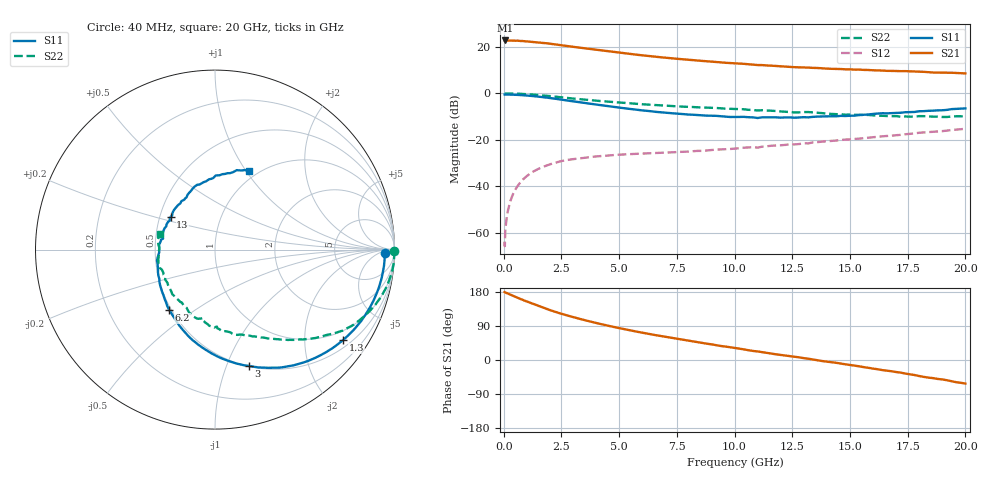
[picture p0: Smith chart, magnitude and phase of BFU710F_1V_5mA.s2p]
! Filename:  P:\Prog\Test\Noise\ATS_data\Testdata_Net\BFU710\BFU710_2W_A1_1V5mA_D.s2p
! Date/Time: Fri 29/Apr/2011 13:26:11
! BFU710_2W_A1_1V5mA
! bias mode 1: Vout= 1.0001 V, Iout= 5.0400 mA, Vin= 0.8283 V, Iin= 0.0172 mA
! Date/time Wed Mar 16 13:17:32 2011
! Device data file deembeded for feedlines and parallel
! Original file: \BFU710\BFU710_2W_A1_1V5mA_R.s2p
! Feed-files: PR003V01_101208_Feed1.s2p, PR003V01_101208_Feed2.s2p
! Parallel-file: PR003V01_101208_Par.s2p
# MHz S MA R 50
!  Freq-MHz  S11-mag  S11-arg  S21-mag  S21-arg  S12-mag  S12-arg  S22-mag  S22-arg
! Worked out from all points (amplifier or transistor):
!   167 points, 40 MHz to 20 GHz, reference 50 ohm
!   highest |S21| = 22.8 dB at 50 MHz (marker M1)
!   |S21| within 3 dB of that: start of sweep to 3.202 GHz
!   unconditionally stable (mu >= 1): 6.67 GHz to 17.88 GHz
!   at 550 MHz: K = 0.04, MSG = 31.7 dB, |S12| = -40.7 dB
!   at 4.2 GHz: K = 0.63, MSG = 22.8 dB, |S12| = -27.0 dB
!   at 20 GHz: K = 0.89, MSG = 12.0 dB, |S12| = -15.3 dB
!   S11 on the Smith chart (normalised r, x): 40 MHz: 33, -12; 1.3 GHz: 0.71, -3.01; 3 GHz: 0.51, -1.20; 6.2 GHz: 0.49, -0.40; 13 GHz: 0.57, +0.23; 20 GHz: 0.91, +1.03
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40  0.9473 -1.1  13.83 179.2  0.0006414 89.9  0.9978 -0.3
50  0.9501 -1.8  13.88 178.5  0.0005095 62.1  0.9978 -0.6
70  0.9474 -1.9  13.75 178.4  0.001111 91.0  0.999 -0.8
180  0.9465 -4.9  13.8 175.5  0.002913 89.2  0.9992 -2.6
600  0.9301 -16.6  13.72 164.3  0.01004 81.7  0.9876 -9.3
1000  0.9019 -27.4  13.27 154.4  0.01653 74.5  0.9643 -15.3
1300  0.8743 -35.1  12.83 147.3  0.02094 69.2  0.9412 -19.5
1600  0.8426 -42.7  12.46 140.5  0.02491 64.6  0.9156 -23.4
2100  0.785 -54.6  11.64 129.7  0.03066 57.8  0.8684 -29.6
2450  0.7413 -62.6  11.03 122.9  0.03437 53.5  0.8296 -33.4
3000  0.6753 -73.7  10.14 113.3  0.03829 46.9  0.7768 -38.0
3400  0.6346 -81.3  9.551 106.8  0.04062 43.7  0.7449 -41.4
4100  0.5678 -93.9  8.608 96.3  0.04422 38.8  0.6912 -46.4
4800  0.5109 -105.7  7.792 86.7  0.04708 34.8  0.6474 -51.0
6200  0.422 -127.1  6.474 69.8  0.05105 29.5  0.5767 -59.1
6800  0.3925 -135.8  6.028 63.4  0.05255 28.0  0.553 -62.3
8200  0.3474 -155.0  5.222 49.1  0.05687 26.4  0.5094 -70.3
10200  0.3112 178.2  4.405 30.1  0.06588 24.2  0.4575 -83.3
13000  0.3076 143.4  3.653 4.9  0.08426 19.4  0.3971 -103.9
13400  0.3129 139.2  3.554 1.2  0.08801 18.3  0.39 -108.8
16800  0.3762 101.7  3.061 -29.6  0.1225 5.1  0.3231 -145.1
20000  0.4761 66.5  2.704 -62.2  0.1725 -15.0  0.3191 164.0
